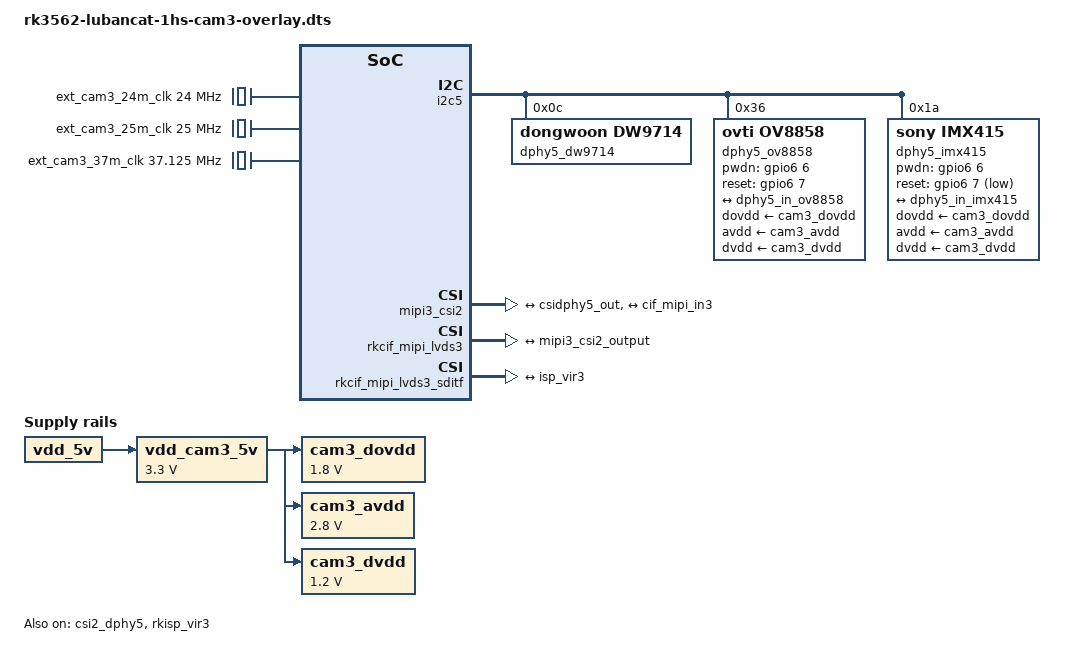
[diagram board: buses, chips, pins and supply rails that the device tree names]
/dts-v1/;
/plugin/;

#include <dt-bindings/usb/pd.h>
#include <dt-bindings/gpio/gpio.h>
#include <dt-bindings/pwm/pwm.h>
#include <dt-bindings/pinctrl/rockchip.h>
#include <dt-bindings/input/rk-input.h>
#include <dt-bindings/display/drm_mipi_dsi.h>
#include <dt-bindings/display/rockchip_vop.h>
#include <dt-bindings/sensor-dev.h>

/ {
	fragment@0 {
		target-path = "/";

        __overlay__ {
            ext_cam3_24m_clk: external-camera-24m-clock {
            	compatible = "fixed-clock";
            	#clock-cells = <0>;
            	clock-frequency = <24000000>;
            	clock-output-names = "ext_cam3_24m_clk";
            };

            ext_cam3_25m_clk: external-camera-25m-clock {
            	compatible = "fixed-clock";
            	clock-frequency = <25000000>;
            	clock-output-names = "ext_cam3_25m_clk";
            	#clock-cells = <0>;
            };

            ext_cam3_37m_clk: external-camera-37m-clock {
            	compatible = "fixed-clock";
            	#clock-cells = <0>;
            	clock-frequency = <37125000>;
            	clock-output-names = "ext_cam3_37m_clk";
            };

            vdd_cam3_5v: vdd-cam-5v-regulator {
            	compatible = "regulator-fixed";
            	regulator-name = "vdd_cam3_5v";
            	regulator-always-on;
            	regulator-boot-on;
            	regulator-min-microvolt = <3300000>;
            	regulator-max-microvolt = <3300000>;
            	vin-supply = <&vdd_5v>;
            };

            cam3_dovdd: cam-dovdd {
            	compatible = "regulator-fixed";
            	regulator-name = "cam3_dovdd";
            	regulator-always-on;
            	regulator-boot-on;
            	regulator-min-microvolt = <1800000>;
            	regulator-max-microvolt = <1800000>;
            	vin-supply = <&vdd_cam3_5v>;
            };

            cam3_avdd: cam-avdd {
            	compatible = "regulator-fixed";
            	regulator-name = "cam3_avdd";
            	regulator-always-on;
            	regulator-boot-on;
            	regulator-min-microvolt = <2800000>;
            	regulator-max-microvolt = <2800000>;
            	vin-supply = <&vdd_cam3_5v>;
            };

            cam3_dvdd: cam-dvdd {
            	compatible = "regulator-fixed";
            	regulator-name = "cam3_dvdd";
            	regulator-always-on;
            	regulator-boot-on;
            	regulator-min-microvolt = <1200000>;
            	regulator-max-microvolt = <1200000>;
            	vin-supply = <&vdd_cam3_5v>;
            };
        };
    };

	fragment@1 {
		target = <&i2c5>;

		__overlay__ {
            status = "okay";
            pinctrl-names = "default";
            pinctrl-0 = <&i2c5m1_xfer>;
			#address-cells = <1>;
			#size-cells = <0>;

            dphy5_dw9714: dw9714@c {
            	status = "okay";
            	compatible = "dongwoon,dw9714";
            	reg = <0xc>;
            	rockchip,camera-module-index = <0>;
            	rockchip,vcm-max-current = <100>;
            	rockchip,vcm-start-current = <0>;
            	rockchip,vcm-rated-current = <100>;
            	rockchip,vcm-step-mode = <0xd>;
            	rockchip,vcm-dlc-enable = <0>;
            	rockchip,vcm-mclk = <0>;
            	rockchip,vcm-t-src = <0>;
            	rockchip,camera-module-facing = "back";
            };

            dphy5_ov5647: ov5647@36 {
            	compatible = "ovti,ov5647";
            	status = "disabled";
            	reg = <0x36>;
            	clocks = <&ext_cam3_25m_clk>;
            	clock-names = "ext_cam3_25m_clk";
				pwdn-gpios = <&gpio6 6 GPIO_ACTIVE_LOW>;
            	lens-focus = <&dphy5_dw9714>;

            	port {
            		ov5647_dphy5_out: endpoint {
            			remote-endpoint = <&dphy5_in_ov5647>;
            			data-lanes = <1 2>;
            		};
            	};
            };

            dphy5_ov5648: ov5648@36 {
            	compatible = "ovti,ov5648";
            	status = "disabled";
            	reg = <0x36>;
            	clocks = <&ext_cam3_24m_clk>;
            	clock-names = "xvclk";
            	dovdd-supply= <&cam3_dovdd>; /* 1.8v */
            	avdd-supply = <&cam3_avdd>;  /* 2.8v */
            	dvdd-supply = <&cam3_dvdd>;  /* 1.2v */
            	pwdn-gpios = <&gpio6 6 GPIO_ACTIVE_HIGH>;
            	reset-gpios = <&gpio6 7 GPIO_ACTIVE_LOW>;
            	rotation = <180>;

            	rockchip,camera-module-index = <0>;
            	rockchip,camera-module-facing = "back";
            	rockchip,camera-module-name = "THDS11073";
            	rockchip,camera-module-lens-name = "Largan-40122a1";
            	lens-focus = <&dphy5_dw9714>;

            	port {
            		/* MIPI CSI-2 bus endpoint */
            		ov5648_dphy5_out: endpoint {
            			remote-endpoint = <&dphy5_in_ov5648>;
            			clock-lanes = <0>;
            			data-lanes = <1 2>;
            		};
            	};
            };

            dphy5_ov8858: ov8858@36 {
            	compatible = "ovti,ov8858";
            	status = "okay";
            	reg = <0x36>;
            	clocks = <&ext_cam3_24m_clk>;
            	clock-names = "xvclk";
            	dovdd-supply= <&cam3_dovdd>; /* 1.8v */
            	avdd-supply = <&cam3_avdd>;  /* 2.8v */
            	dvdd-supply = <&cam3_dvdd>;  /* 1.2v */
            	pwdn-gpios = <&gpio6 6 GPIO_ACTIVE_HIGH>;
            	reset-gpios = <&gpio6 7 GPIO_ACTIVE_HIGH>;
            	rotation = <180>;

            	rockchip,camera-module-index = <0>;
            	rockchip,camera-module-facing = "back";
            	rockchip,camera-module-name = "HS5885-BNSM1018-V01";
            	rockchip,camera-module-lens-name = "default";
            	lens-focus = <&dphy5_dw9714>;

            	port {
            		/* MIPI CSI-2 bus endpoint */
            		ov8858_dphy5_out: endpoint {
            			remote-endpoint = <&dphy5_in_ov8858>;
            			clock-lanes = <0>;
            			data-lanes = <1 2>;
            		};
            	};
            };

            dphy5_ov13850: ov13850@10 {
            	compatible = "ovti,ov13850";
            	status = "disabled";
            	reg = <0x10>;
            	clocks = <&ext_cam3_24m_clk>;
            	clock-names = "xvclk";
            	dovdd-supply= <&cam3_dovdd>; /* 1.8v */
            	avdd-supply = <&cam3_avdd>;  /* 2.8v */
            	dvdd-supply = <&cam3_dvdd>;  /* 1.2v */
            	pwdn-gpios = <&gpio6 6 GPIO_ACTIVE_HIGH>;
            	reset-gpios = <&gpio6 7 GPIO_ACTIVE_HIGH>;
            	rotation = <180>;

            	rockchip,camera-module-index = <2>;
            	rockchip,camera-module-facing = "back";
            	rockchip,camera-module-name = "ZC-OV13850R2A-V1";
            	rockchip,camera-module-lens-name = "Largan-50064B31";
            	lens-focus = <&dphy5_dw9714>;

            	port {
            		/* MIPI CSI-2 bus endpoint */
            		ov13850_dphy5_out: endpoint {
            			remote-endpoint = <&dphy5_in_ov13850>;
            			clock-lanes = <0>;
            			data-lanes = <1 2>;
            		};
            	};
            };

            dphy5_imx415: imx415@1a {
            	compatible = "sony,imx415";
            	status = "okay";
            	reg = <0x1a>;
            	clocks = <&ext_cam3_37m_clk>;
            	clock-names = "xvclk";
            	dovdd-supply = <&cam3_dovdd>;
            	avdd-supply = <&cam3_avdd>;
            	dvdd-supply = <&cam3_dvdd>;
            	pwdn-gpios = <&gpio6 6 GPIO_ACTIVE_HIGH>;
            	reset-gpios = <&gpio6 7 GPIO_ACTIVE_LOW>;

            	rockchip,camera-module-index = <0>;
            	rockchip,camera-module-facing = "back";
            	rockchip,camera-module-name = "CMK-OT2022-PX1";
            	rockchip,camera-module-lens-name = "IR0147-50IRC-8M-F20";
            	// NO_HDR:0 HDR_X2:5 HDR_X3:6
            	// rockchip,camera-hdr-mode = <0>;
            	port {
            		imx415_dphy5_out: endpoint {
            			remote-endpoint = <&dphy5_in_imx415>;
            			data-lanes = <1 2>;
            		};
            	};
            };
        };
    };

    /* Link path: sensor->csi2_dphy5->mipi3_csi2->rkcif_mipi_lvds3--->rkcif_mipi_lvds3_sditf->rkisp_vir3 */
	fragment@2 {
		target = <&csi2_dphy5>;

		__overlay__ {
            status = "okay";

            ports {
            	#address-cells = <1>;
            	#size-cells = <0>;
            	port@0 {
            		reg = <0>;
            		#address-cells = <1>;
            		#size-cells = <0>;

            		dphy5_in_ov5647: endpoint@1 {
            			reg = <1>;
            			remote-endpoint = <&ov5647_dphy5_out>;
            			data-lanes = <1 2>;
            		};

            		dphy5_in_ov5648: endpoint@2 {
            			reg = <2>;
            			remote-endpoint = <&ov5648_dphy5_out>;
            			data-lanes = <1 2>;
            		};

            		dphy5_in_ov8858: endpoint@3 {
            			reg = <3>;
            			remote-endpoint = <&ov8858_dphy5_out>;
            			data-lanes = <1 2>;
            		};

            		dphy5_in_ov13850: endpoint@4 {
            			reg = <4>;
            			remote-endpoint = <&ov13850_dphy5_out>;
            			data-lanes = <1 2>;
            		};

            		dphy5_in_imx415: endpoint@5 {
            			reg = <5>;
            			remote-endpoint = <&imx415_dphy5_out>;
            			data-lanes = <1 2>;
            		};
            	};

            	port@1 {
            		reg = <1>;
            		#address-cells = <1>;
            		#size-cells = <0>;

            		csidphy5_out: endpoint@0 {
            			reg = <0>;
            			remote-endpoint = <&mipi3_csi2_input>;
            		};
            	};
            };            
        };
    };

	fragment@3 {
		target = <&mipi3_csi2>;

		__overlay__ {
            status = "okay";

            ports {
            	#address-cells = <1>;
            	#size-cells = <0>;

            	port@0 {
            		reg = <0>;
            		#address-cells = <1>;
            		#size-cells = <0>;

            		mipi3_csi2_input: endpoint@1 {
            			reg = <1>;
            			remote-endpoint = <&csidphy5_out>;
            		};
            	};

            	port@1 {
            		reg = <1>;
            		#address-cells = <1>;
            		#size-cells = <0>;

            		mipi3_csi2_output: endpoint@0 {
            			reg = <0>;
            			remote-endpoint = <&cif_mipi_in3>;
            		};
            	};
            };            
        };
    };

	fragment@4 {
		target = <&rkcif_mipi_lvds3>;

		__overlay__ {
            status = "okay";

            port {
            	cif_mipi_in3: endpoint {
            		remote-endpoint = <&mipi3_csi2_output>;
            	};
            };            
        };
    };

	fragment@5 {
		target = <&rkcif_mipi_lvds3_sditf>;

		__overlay__ {
            status = "okay";

            port {
            	mipi_lvds3_sditf: endpoint {
            		remote-endpoint = <&isp_vir3>;
            	};
            };            
        };
    };

	fragment@6 {
		target = <&rkisp_vir3>;

		__overlay__ {
            status = "okay";
            
            port {
            	#address-cells = <1>;
            	#size-cells = <0>;
            
            	isp_vir3: endpoint@0 {
            		reg = <0>;
            		remote-endpoint = <&mipi_lvds3_sditf>;
            	};
            };            
        };
    };
};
